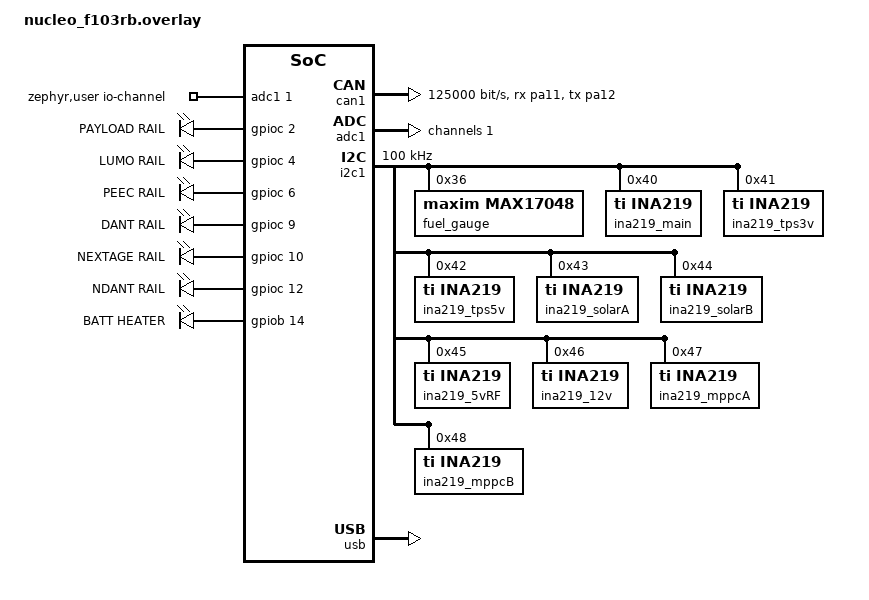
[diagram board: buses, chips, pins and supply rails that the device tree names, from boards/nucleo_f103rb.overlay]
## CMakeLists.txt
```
cmake_minimum_required(VERSION 3.20.0)

find_package(Zephyr REQUIRED HINTS $ENV{ZEPHYR_BASE})
project(eps)

list(APPEND CMAKE_MODULE_PATH ${ZEPHYR_BASE}/modules/nanopb)
include(nanopb)

target_include_directories(app PRIVATE include)

zephyr_nanopb_sources(app proto/eps_link.proto)
target_sources(app PRIVATE
	src/main.c
	src/can_link.c
	src/sensor_task.c
	src/nka103c1b1.c
	src/ntcle101.c
	src/set_rail.c
	src/ina219.c
	src/max17049.c
	src/adc.c
	src/battery_heater.c
)
```

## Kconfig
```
mainmenu "EPS Application"

	source "Kconfig.zephyr"

menu "EPS options"

	config CAN_LINK_NODE_ADDR
		hex "Local CAN node address (8-bit)"
		default 0x02
		range 0x01 0xFE

	config CAN_LINK_PEER_NODE_ADDR
		hex "Peer CAN node address for unicast demo TX (8-bit)"
		default 0x01
		range 0x01 0xFE

	config CAN_LINK_COMMAND_PRIORITY
		int "CAN priority for command / broadcast traffic (0..7)"
		default 3
		range 0 7

	config CAN_LINK_TELEMETRY_PRIORITY
		int "CAN priority for telemetry/unicast traffic (0..7)"
		default 6
		range 0 7

	config CAN_LINK_LOOPBACK
		bool "Enable CAN loopback mode for self-test"
		default n

	config CAN_LINK_TX_PERIOD_MS
		int "TX period in milliseconds"
		default 1000
		range 10 60000

	config CAN_LINK_RX_THREAD_STACK_SIZE
		int "CAN RX task stack size"
		default 1536
		range 512 8192

	config CAN_LINK_RX_THREAD_PRIORITY
		int "CAN RX task priority"
		default 5
		range -16 15

	config CAN_LINK_RX_TIMEOUT_MS
		int "CAN RX timeout in milliseconds"
		default 2000
		range 10 60000

	config CAN_LINK_RX_BUFFER_SIZE
		int "CAN RX buffer size (ISO-TP payload bytes)"
		default 128
		range 8 4095

	config CAN_LINK_BROADCAST_TX_ENABLE
		bool "Enable periodic broadcast transmit in main demo app"
		default n

	config CAN_LINK_BROADCAST_TX_PERIOD_MS
		int "Broadcast TX period in milliseconds (demo app)"
		default 3000
		range 100 60000
	
	config MY_APP_HAL_FIX
    	bool
    	default y
    	select USE_STM32_HAL_I2C

	endmenu
```

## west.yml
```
manifest:
  remotes:
    - name: zephyrproject
      url-base: https://github.com/zephyrproject-rtos

  projects:
    - name: zephyr
      remote: zephyrproject
      revision: 3568e1b6d5cdd51a6b964a2a1d6d29200fea2056
      import:
        name-allowlist:
          - cmsis_6
          - hal_stm32
          - nanopb

  self:
    path: app
```

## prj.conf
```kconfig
# Minimal config for LED blink + logs
CONFIG_GPIO=y

CONFIG_SERIAL=y
CONFIG_CONSOLE=y
CONFIG_UART_CONSOLE=y
CONFIG_PRINTK=y
CONFIG_CBPRINTF_FP_SUPPORT=y #Allows us to print floating points in Zephyr

CONFIG_LOG=y
CONFIG_LOG_DEFAULT_LEVEL=3
CONFIG_LOG_MODE_IMMEDIATE=y
CONFIG_LOG_BACKEND_UART=y

CONFIG_MAIN_STACK_SIZE=2048

CONFIG_CAN=y
CONFIG_CAN_INIT_PRIORITY=80
CONFIG_ISOTP=y
CONFIG_ISOTP_RX_SF_FF_BUF_COUNT=2

CONFIG_NANOPB=y

CONFIG_ADC=y
CONFIG_ADC_STM32=y

CONFIG_I2C=y
CONFIG_SENSOR=y
CONFIG_INA219=y
CONFIG_FUEL_GAUGE=y
```

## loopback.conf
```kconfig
CONFIG_CAN_LINK_LOOPBACK=y
CONFIG_CAN_LINK_NODE_ADDR=0x02
CONFIG_CAN_LINK_PEER_NODE_ADDR=0x02
```

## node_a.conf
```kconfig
CONFIG_CAN_LINK_NODE_ADDR=0x01
CONFIG_CAN_LINK_PEER_NODE_ADDR=0x02
CONFIG_CAN_LINK_BROADCAST_TX_ENABLE=y
CONFIG_CAN_LINK_TX_PERIOD_MS=1500
CONFIG_CAN_LINK_BROADCAST_TX_PERIOD_MS=3000
```

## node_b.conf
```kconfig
CONFIG_CAN_LINK_NODE_ADDR=0x02
CONFIG_CAN_LINK_PEER_NODE_ADDR=0x01
CONFIG_CAN_LINK_BROADCAST_TX_ENABLE=n
```

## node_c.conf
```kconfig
CONFIG_CAN_LINK_NODE_ADDR=0x03
CONFIG_CAN_LINK_PEER_NODE_ADDR=0x01
CONFIG_CAN_LINK_BROADCAST_TX_ENABLE=n
```

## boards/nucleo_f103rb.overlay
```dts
/ {
	chosen {
		zephyr,console = &usart2;
		zephyr,shell-uart = &usart2;
		zephyr,canbus = &can1;
	};

	zephyr,user {
        /* Points to ADC1, Channel 1 (PA1 pin on STM32F103) */
        io-channels = <&adc1 1>;
    };

	aliases {
		rail0 = &rail_0;
		rail1 = &rail_1;
		rail2 = &rail_2;
		rail3 = &rail_3;
		rail4 = &rail_4;
		rail5 = &rail_5;
		rail6 = &rail_6;
	};

	rails {
		compatible = "gpio-leds";

		rail_0: rail0{
			gpios = <&gpioc 2 GPIO_ACTIVE_HIGH>;
			label = "PAYLOAD RAIL";
		};

		rail_1: rail1{
			gpios = <&gpioc 4 GPIO_ACTIVE_HIGH>;
			label = "LUMO RAIL";
		};

		rail_2: rail2{
			gpios = <&gpioc 6 GPIO_ACTIVE_HIGH>;
			label = "PEEC RAIL";
		};

		rail_3: rail3{
			gpios = <&gpioc 9 GPIO_ACTIVE_HIGH>;
			label = "DANT RAIL";
		};

		rail_4: rail4{
			gpios = <&gpioc 10 GPIO_ACTIVE_HIGH>;
			label = "NEXTAGE RAIL";
		};

		rail_5: rail5{
			gpios = <&gpioc 12 GPIO_ACTIVE_HIGH>;
			label = "NDANT RAIL";
		};

		rail_6: rail6{
			gpios = <&gpiob 14 GPIO_ACTIVE_HIGH>;
			label = "BATT HEATER";
		};
	};
};


&can1 {
	pinctrl-0 = <&can_rx_pa11 &can_tx_pa12>;
	pinctrl-names = "default";
	bitrate = <125000>;
	status = "okay";

	can-transceiver {
		max-bitrate = <1000000>;
	};
};

&adc1 {
    #address-cells = <1>;
    #size-cells = <0>;
    status = "okay";
    
    /* Configure Channel 1 */
    channel@1 {
        reg = <1>;
        zephyr,gain = "ADC_GAIN_1";
        zephyr,reference = "ADC_REF_INTERNAL";
        zephyr,acquisition-time = <ADC_ACQ_TIME_DEFAULT>;
        zephyr,resolution = <12>;
    };
};

&gpioc {
	status = "okay";
};

&i2c1 {
	status = "okay";
	clock-frequency = <I2C_BITRATE_STANDARD>;

	fuel_gauge: max17048@36 {
		compatible = "maxim,max17048";
		reg = <0x36>;
		status = "okay";
	};

	ina219_main: ina219@40 {
		compatible = "ti,ina219";
		reg = <0x40>;

		shunt-milliohm = <100>;
		lsb-microamp = <100>;
	};

	ina219_tps3v: ina219@41 { 
		compatible = "ti,ina219";
		reg = <0x41>;

		shunt-milliohm = <100>;
		lsb-microamp = <100>;
	};

	ina219_tps5v: ina219@42 { 
		compatible = "ti,ina219";
		reg = <0x42>;

		shunt-milliohm = <100>;
		lsb-microamp = <100>;
	};

	ina219_solarA: ina219@43 { 
		compatible = "ti,ina219";
		reg = <0x43>;

		shunt-milliohm = <100>;
		lsb-microamp = <100>;
	};

	ina219_solarB: ina219@44 { 
		compatible = "ti,ina219";
		reg = <0x44>;

		shunt-milliohm = <100>;
		lsb-microamp = <100>;
	};

	ina219_5vRF: ina219@45 { 
		compatible = "ti,ina219";
		reg = <0x45>;

		shunt-milliohm = <100>;
		lsb-microamp = <100>;
	};

	ina219_12v: ina219@46 { 
		compatible = "ti,ina219";
		reg = <0x46>;

		shunt-milliohm = <100>;
		lsb-microamp = <100>;
	};

	ina219_mppcA: ina219@47 { 
		compatible = "ti,ina219";
		reg = <0x47>;

		shunt-milliohm = <100>;
		lsb-microamp = <100>;
	};

	ina219_mppcB: ina219@48 { 
		compatible = "ti,ina219";
		reg = <0x48>;

		shunt-milliohm = <100>;
		lsb-microamp = <100>;
	};
};

&usb {
	status = "okay";
};
```

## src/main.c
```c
#include <inttypes.h>
#include <stdbool.h>
#include <stddef.h>
#include <stdint.h>
#include <stdio.h>

#include <zephyr/logging/log.h>
#include <zephyr/kernel.h>
#include <zephyr/sys/util.h>

#include <zephyr/devicetree.h>
#include <zephyr/sys/printk.h>

#include <pb_decode.h>
#include <pb_encode.h>
#include "state.h"
#include "can_link.h"
#include "proto/eps_link.pb.h"
#include "sensor_task.h"
#include "nka103c1b1.h"
#include "ntcle101.h" 
#include "ina219.h"


State currentState = BOOT;

K_THREAD_STACK_DEFINE(sensor_task_stack, 1024);		// Creating the sensor__task
struct k_thread sensor_task_thread;

LOG_MODULE_REGISTER(eps, LOG_LEVEL_INF);

struct tx_action {
	bool broadcast;
	uint8_t target_node;
};

// CAN code, by Wayne
static bool encode_unicast_message(uint32_t seq, uint8_t *buffer, size_t *encoded_len)
{
	EpsLinkMessage msg = EpsLinkMessage_init_zero;
	pb_ostream_t stream = pb_ostream_from_buffer(buffer, EpsLinkMessage_size);

	msg.node_id = can_link_node_id();
	msg.seq = seq;
	msg.type = (seq % 2U == 0U) ? EpsLinkMessage_MsgType_HEARTBEAT : EpsLinkMessage_MsgType_STATUS;

	if (!pb_encode(&stream, EpsLinkMessage_fields, &msg)) {
		LOG_ERR("Nanopb encode failed: %s", PB_GET_ERROR(&stream));
		return false;
	}

	*encoded_len = stream.bytes_written;
	return true;
}

static bool encode_broadcast_message(uint32_t seq, uint8_t *buffer, size_t *encoded_len)
{
	EpsLinkMessage msg = EpsLinkMessage_init_zero;
	pb_ostream_t stream = pb_ostream_from_buffer(buffer, EpsLinkMessage_size);

	msg.node_id = can_link_node_id();
	msg.seq = seq;
	msg.type = EpsLinkMessage_MsgType_STATUS;

	if (!pb_encode(&stream, EpsLinkMessage_fields, &msg)) {
		LOG_ERR("Nanopb broadcast encode failed: %s", PB_GET_ERROR(&stream));
		return false;
	}

	*encoded_len = stream.bytes_written;
	return true;
}

static bool decode_message(const uint8_t *buffer, size_t len, EpsLinkMessage *msg)
{
	pb_istream_t stream = pb_istream_from_buffer(buffer, len);

	*msg = (EpsLinkMessage)EpsLinkMessage_init_zero;
	if (!pb_decode(&stream, EpsLinkMessage_fields, msg)) {
		LOG_ERR("Nanopb decode failed: %s", PB_GET_ERROR(&stream));
		return false;
	}

	return true;
}

static void on_can_message(const uint8_t *buffer, size_t len, uint8_t source_node, bool is_broadcast,
			   void *user_data)
{
	EpsLinkMessage msg;

	ARG_UNUSED(user_data);

	if (!decode_message(buffer, len, &msg)) {
		return;
	}

	LOG_INF("RX src=%u broadcast=%d node_id=%" PRIu32 " seq=%" PRIu32 " uptime_ms=%" PRIu32 " type=%u",
		source_node, is_broadcast, msg.node_id, msg.seq, msg.uptime_ms, (unsigned int)msg.type);
}

static size_t build_tx_plan(uint8_t local_node, struct tx_action *plan, size_t max_actions)
{
	if (max_actions < 3U) {
		return 0U;
	}

	if (local_node == 0x01U) {
		plan[0] = (struct tx_action){ .broadcast = true, .target_node = 0xFFU };
		plan[1] = (struct tx_action){ .broadcast = false, .target_node = 0x02U };
		plan[2] = (struct tx_action){ .broadcast = false, .target_node = 0x03U };
		return 3U;
	}

	if (local_node == 0x02U) {
		plan[0] = (struct tx_action){ .broadcast = false, .target_node = 0x01U };
		plan[1] = (struct tx_action){ .broadcast = false, .target_node = 0x03U };
		return 2U;
	}

	if (local_node == 0x03U) {
		plan[0] = (struct tx_action){ .broadcast = false, .target_node = 0x01U };
		plan[1] = (struct tx_action){ .broadcast = false, .target_node = 0x02U };
		return 2U;
	}

	plan[0] = (struct tx_action){ .broadcast = false, .target_node = (uint8_t)CONFIG_CAN_LINK_PEER_NODE_ADDR };
	return 1U;
}
// END OF CAN CODE

// MAIN FUNCTION
int main(void)
{
	//printk("Aidan was here");
	uint8_t tx_buffer[EpsLinkMessage_size];
	struct tx_action tx_plan[3];
	uint32_t seq = 0U;
	size_t plan_len;
	size_t plan_idx = 0U;
	int ret;

	


	ina219_data_t inaData = {0};
	
	ret = can_link_init(on_can_message, NULL);
	plan_len = build_tx_plan((uint8_t)can_link_node_id(), tx_plan, ARRAY_SIZE(tx_plan));

	// Sensor_task_code
	void sensor_task_entry(void *p1, void *p2, void *p3){
    	ARG_UNUSED(p1);
    	ARG_UNUSED(p2);
    	ARG_UNUSED(p3);
    	sensor_task();
	}

	k_thread_create(&sensor_task_thread, 
					sensor_task_stack,
                    K_THREAD_STACK_SIZEOF(sensor_task_stack),
                    sensor_task_entry, 
					NULL, 
					NULL, 
					NULL,
                    5, 
					0, 
					K_NO_WAIT);
	// END SENSOR TASK CODE

	// TODO: Remove "return 0" and add LOG_INF for transitioning from BOOT to FAULT in all init conditionals, and change currentState to FAULT
	while (1) {
		// State Machine
		switch(currentState){
			case BOOT:
				LOG_INF("State: BOOT");

				// WAYNES CAN CODE - INIT (I think)
				if (ret != 0) {
					LOG_ERR("CAN init failed: %d", ret);
					return 0;
				}

				if (plan_len == 0U) {
					LOG_ERR("Failed to build TX plan");
					return 0;
				}

				LOG_INF("TX plan loaded for node=%u entries=%u", (unsigned int)can_link_node_id(),
				(unsigned int)plan_len);
				// END CAN INIT

				
				// TODO: Perhaps test for a single, or make a new temporary ina instance to initialize here instead of every ina read

				currentState = WAKE;
				LOG_INF("State transition from BOOT to WAKE due to: Nominal Initialization!");
				break;
			case WAKE:
				// TODO: Send ack packet to OBC and wait for command back
				LOG_INF("Sending acknowledge to OBC");
				LOG_INF("State transition from WAKE to VITALS due to: OBC Next State Command");
				
				currentState = VITALS;
				break;
			case VITALS:
			    LOG_INF("State: VITALS");
				// TODO: Figure out if EPS needs to do anything like call readAllINA()
            	currentState = REGULAR;
				break;
			case DEPLOYING:
			    LOG_INF("State: DEPLOYING");
				// TODO: Figure out if EPS needs to do anything here, or just wait
            	currentState = REGULAR;
				break;
			case REGULAR:
				LOG_INF("State: REGULAR");
				// Normal Operations Placeholder - No sensor_task call added yet
				readSingleINA(0, &inaData);
				printk("INA data is: %fV, %fA, %fW", (double)inaData.voltage, (double)inaData.current, (double)inaData.power);
				
				size_t encoded_len = 0U;
				struct tx_action action = tx_plan[plan_idx];
				bool encoded_ok;

				if (action.broadcast) {
					encoded_ok = encode_broadcast_message(seq, tx_buffer, &encoded_len);
				} else {
					encoded_ok = encode_unicast_message(seq, tx_buffer, &encoded_len);
				}

				if (!encoded_ok) {
					k_msleep(100);
					continue;
				}

		
				if (action.broadcast) {
					ret = can_link_send_broadcast(tx_buffer, encoded_len);
					if (ret != 0) {
						LOG_ERR("TX broadcast failed (seq=%" PRIu32 "): %d", seq, ret);
					} else {
						LOG_INF("TX broadcast seq=%" PRIu32 " bytes=%u", seq, (unsigned int)encoded_len);
					}
				} else {
					ret = can_link_send_to(action.target_node, tx_buffer, encoded_len);
					if (ret != 0) {
						LOG_ERR("TX unicast failed (seq=%" PRIu32 ", target=%u): %d", seq,
							action.target_node, ret);
					} else {
						LOG_INF("TX unicast seq=%" PRIu32 " target=%u bytes=%u", seq,
							action.target_node, (unsigned int)encoded_len);
					}
				}
		
				seq++;
				plan_idx = (plan_idx + 1U) % plan_len;

				
		
				//float temp = getBattTemp(raw_value);
				//printk("Batt temperature is: %f", temp);

				k_msleep(CONFIG_CAN_LINK_TX_PERIOD_MS);
				break;
			case SAFE:
				LOG_WRN("State: SAFE");
            	k_msleep(250);
				break;
			case FAULT:
				LOG_ERR("State: FAULT");
            	currentState = RESTART;
				break;
			case RESTART:
				LOG_WRN("State: RESTART");
            	k_msleep(100);
				// TODO: Figure out how to restart MCU in a safe way
				break;
		}
		

	}
}
```

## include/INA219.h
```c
/*
 * INA219.h
 *
 *  Created on: Dec 30, 2020
 *  Updated on: Jan 29, 2022
 *      Author: Piotr Smolen <komuch@gmail.com>
 *     	Updated by: Brandon Thibeaux <github: thibeaux>
 */

#ifndef INC_INA219_H_
#define INC_INA219_H_

#include <stdbool.h>
#include <stdint.h>
#include "main.h"


#define INA219_ADDRESS 							(0x40)

//
//	Registers
//
#define	INA219_REG_CONFIG						(0x00)
#define	INA219_REG_SHUNTVOLTAGE					(0x01)
#define	INA219_REG_BUSVOLTAGE					(0x02)
#define	INA219_REG_POWER						(0x03)
#define	INA219_REG_CURRENT						(0x04)
#define	INA219_REG_CALIBRATION					(0x05)
//
#define INA219_CONFIG_RESET 					(0x8000)
//
#define INA219_CONFIG_BVOLTAGERANGE_16V			(0x0000) // 0-16V Range
#define INA219_CONFIG_BVOLTAGERANGE_32V			(0x2000) // 0-32V Range

#define	INA219_CONFIG_GAIN_1_40MV				(0x0000)  // Gain 1, 40mV Range
#define	INA219_CONFIG_GAIN_2_80MV				(0x0800)  // Gain 2, 80mV Range
#define	NA219_CONFIG_GAIN_4_160MV				(0x1000) // Gain 4, 160mV Range
#define	INA219_CONFIG_GAIN_8_320MV				(0x1800) // Gain 8, 320mV Range

#define	INA219_CONFIG_BADCRES_9BIT				(0x0000)  // 9-bit bus res = 0..511
#define	INA219_CONFIG_BADCRES_10BIT				(0x0080) // 10-bit bus res = 0..1023
#define	INA219_CONFIG_BADCRES_11BIT				(0x0100) // 11-bit bus res = 0..2047
#define	INA219_CONFIG_BADCRES_12BIT				(0x0180) // 12-bit bus res = 0..4097
#define	INA219_CONFIG_BADCRES_12BIT_2S_1060US 	(0x0480) // 2 x 12-bit bus samples averaged together
#define	INA219_CONFIG_BADCRES_12BIT_4S_2130US	(0x0500) // 4 x 12-bit bus samples averaged together
#define	INA219_CONFIG_BADCRES_12BIT_8S_4260US	(0x0580) // 8 x 12-bit bus samples averaged together
#define	INA219_CONFIG_BADCRES_12BIT_16S_8510US	(0x0600) // 16 x 12-bit bus samples averaged together
#define	INA219_CONFIG_BADCRES_12BIT_32S_17MS	(0x0680) // 32 x 12-bit bus samples averaged together
#define	INA219_CONFIG_BADCRES_12BIT_64S_34MS	(0x0700) // 64 x 12-bit bus samples averaged together
#define	INA219_CONFIG_BADCRES_12BIT_128S_69MS	(0x0780) // 128 x 12-bit bus samples averaged together

#define	INA219_CONFIG_SADCRES_9BIT_1S_84US		(0x0000) // 1 x 9-bit shunt sample
#define	INA219_CONFIG_SADCRES_10BIT_1S_148US	(0x0008) // 1 x 10-bit shunt sample
#define	INA219_CONFIG_SADCRES_11BIT_1S_276US	(0x0010) // 1 x 11-bit shunt sample
#define	INA219_CONFIG_SADCRES_12BIT_1S_532US	(0x0018) // 1 x 12-bit shunt sample
#define	INA219_CONFIG_SADCRES_12BIT_2S_1060US	(0x0048) // 2 x 12-bit shunt samples averaged together
#define	INA219_CONFIG_SADCRES_12BIT_4S_2130US	(0x0050) // 4 x 12-bit shunt samples averaged together
#define	INA219_CONFIG_SADCRES_12BIT_8S_4260US	(0x0058) // 8 x 12-bit shunt samples averaged together
#define	INA219_CONFIG_SADCRES_12BIT_16S_8510US	(0x0060) // 16 x 12-bit shunt samples averaged together
#define	INA219_CONFIG_SADCRES_12BIT_32S_17MS	(0x0068) // 32 x 12-bit shunt samples averaged together
#define	INA219_CONFIG_SADCRES_12BIT_64S_34MS	(0x0070) // 64 x 12-bit shunt samples averaged together
#define	INA219_CONFIG_SADCRES_12BIT_128S_69MS	(0x0078) // 128 x 12-bit shunt samples averaged together
//
#define INA219_CONFIG_MODE_MASK					(0x07)
#define	INA219_CONFIG_MODE_POWERDOWN			0x00 /**< power down */
#define	INA219_CONFIG_MODE_SVOLT_TRIGGERED		0x01 /**< shunt voltage triggered */
#define	INA219_CONFIG_MODE_BVOLT_TRIGGERED		0x02 /**< bus voltage triggered */
#define	INA219_CONFIG_MODE_SANDBVOLT_TRIGGERED	0x03 /**< shunt and bus voltage triggered */
#define	INA219_CONFIG_MODE_ADCOFF				0x04 /**< ADC off */
#define	INA219_CONFIG_MODE_SVOLT_CONTINUOUS		0x05 /**< shunt voltage continuous */
#define	INA219_CONFIG_MODE_BVOLT_CONTINUOUS		0x06 /**< bus voltage continuous */
#define	INA219_CONFIG_MODE_SANDBVOLT_CONTINUOUS 0x07

typedef struct
{
	I2C_HandleTypeDef 	*ina219_i2c;
	uint8_t				Address;
} INA219_t;

enum BatteryState {Battery_START,Battery_OK, Battery_LOW}; // To help health check function sufficiently diagnose problems

//Added by Aidan
enum PowerState {Nominal, Safe, Low_Power,};

int INA219_GetDeltaTime_ms();
uint8_t INA219_Init(INA219_t *ina219, I2C_HandleTypeDef *i2c, uint8_t Address);
uint16_t INA219_ReadBusVoltage(INA219_t *ina219);
int16_t INA219_ReadCurrent(INA219_t *ina219);
int16_t INA219_ReadCurrent_raw(INA219_t *ina219);
uint16_t INA219_ReadShuntVolage(INA219_t *ina219);
uint16_t INA219_ReadPower(INA219_t *ina219);
float INA219_GetBatteryLife(INA219_t *ina219,float batteryMax, float batteryMin);
float INA219_GetAVGMiliWatt(INA219_t *ina219);
float INA219_GetMiliWattsDeltaTime(INA219_t *ina219);
float INA219_GetTotalPowerUsed(INA219_t *ina219);
enum BatteryState INA219_HealthCheck(INA219_t *ina219,float batteryPercentageThreshold,float batteryPercentage);

void INA219_Reset(INA219_t *ina219);
void INA219_setCalibration(INA219_t *ina219, uint16_t CalibrationData);
uint16_t INA219_getConfig(INA219_t *ina219);
void INA219_setConfig(INA219_t *ina219, uint16_t Config);
void INA219_setCalibration_32V_2A(INA219_t *ina219);
void INA219_setCalibration_32V_1A(INA219_t *ina219);
void INA219_setCalibration_16V_400mA(INA219_t *ina219);
void INA219_setPowerMode(INA219_t *ina219, uint8_t Mode);

uint16_t Read16(INA219_t *ina219, uint8_t Register);
HAL_StatusTypeDef Write16(INA219_t *ina219, uint8_t Register, uint16_t Value);



#endif /* INC_INA219_H_ */
```

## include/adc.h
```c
#ifndef ADC_H
#define ADC_H

#include <stdint.h>
#include <zephyr/drivers/adc.h>
#include <zephyr/logging/log.h>

// Setting up the Analogue to Digital converter with Zephyr and the STM32
#define ADC_NODE DT_PATH(zephyr_user)
static const struct adc_dt_spec adc_channel = ADC_DT_SPEC_GET_BY_IDX(ADC_NODE, 0);

extern int16_t raw_ADC;

/**
 * @brief Initializes the STM32's Analog to digital converter
 * 
 * @return int - Returns a 1 if successful set up, 0 otherwise
 */
int adcInit();

/**
 * @brief Reads the Analog value from the STM32's ADC GPIO and converts it to a digital signal. To used
 * to retrieve the NTC thermistor's temperature
 * 
 * @return int 
 */
int adcRead();

#endif
```

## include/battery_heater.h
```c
/**
 * @file battery_heater.h
 * @author Aidan Doyle (Doyle-Squared)
 * @brief   Header file for battery heater gpio toggling functions
 * @version 0.1
 * @date 2026-07-28
 */
#ifndef BATTERY_HEATER_H
#define BATTERY_HEATER_H

#include <zephyr/logging/log.h>
#include <zephyr/kernel.h>
#include <zephyr/sys/util.h>
#include <zephyr/drivers/gpio.h>

/**
 * @brief Sets the battery heater CTRL gpio to high/on
 * 
 * @return int - Returns 1 if toggled, 0 if toggle fails
 */
int battHeaterOn();

/**
 * @brief Sets the battery heater CTRL gpio to low/off
 * 
 * @return int Returns 1 if toggled, 0 if toggle fails
 */
int battHeaterOff();

#endif
```

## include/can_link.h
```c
#ifndef CAN_LINK_H_
#define CAN_LINK_H_

#include <stddef.h>
#include <stdbool.h>
#include <stdint.h>

#ifdef __cplusplus
extern "C" {
#endif

typedef void (*can_link_rx_handler_t)(const uint8_t *payload, size_t len, uint8_t source_node,
				      bool is_broadcast, void *user_data);

int can_link_init(can_link_rx_handler_t rx_handler, void *user_data);
int can_link_send(const uint8_t *payload, size_t len);
int can_link_send_to(uint8_t target_node, const uint8_t *payload, size_t len);
int can_link_send_broadcast(const uint8_t *payload, size_t len);
uint32_t can_link_node_id(void);

#ifdef __cplusplus
}
#endif

#endif /* CAN_LINK_H_ */
```

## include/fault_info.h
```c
/**
 * @file fault_info.h
 * @author Aidan Doyle (Doyle-Squared)
 * @brief Enums for EPS fault reporting to the EPS
 * @date 2026-08-11
 */

 #ifndef FAULT_INFO_H
 #define FAULT_INFO_H

typedef enum {
    INFO,
    WARNING,
    ERROR,
    CRITICAL
}Severity;


 #endif
```

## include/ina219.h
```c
#ifndef INA219_H
#define INA219_H

#include <stdint.h>

typedef struct {
    uint8_t id;
    float current;
    float voltage;
    float power;
    float shuntVoltage;
} ina219_data_t;

typedef struct {
    float voltageMin;
    float voltageMax;
    float currentMin;
    float currentMax;
} inaRanges;

/**
 * @brief:	The goal of this function is to read the value of a single INA sensor .
 * @param 	nodeIndex Index to the specific INA Zephyr device-tree node you want to read
 * @param   inaInstance Pointer to the struct where the INA's data is stored after being read
 * 
 * @return  Returns a 1 if the method was able to read and store the data
 */
int readSingleINA(int nodeIndex, ina219_data_t *inaInstance);

/**
 * @brief:	The goal of this function is to read all the EPS INA's and store them in a data buffer to be used for a heartbeat. 
 * @param   inaStorage - Data buffer to store the data of all the INA's
 * 
 * @return  Returns a 1 if the method was able to read and store the data
 */
int readAllINA(ina219_data_t inaSensors[]);

#endif
```

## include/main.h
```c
/* USER CODE BEGIN Header */
/**
  ******************************************************************************
  * @file           : main.h
  * @brief          : Header for main.c file.
  *                   This file contains the common defines of the application.
  ******************************************************************************
  * @attention
  *
  * <h2><center>&copy; Copyright (c) 2022 STMicroelectronics.
  * All rights reserved.</center></h2>
  *
  * This software component is licensed by ST under BSD 3-Clause license,
  * the "License"; You may not use this file except in compliance with the
  * License. You may obtain a copy of the License at:
  *                        opensource.org/licenses/BSD-3-Clause
  *
  ******************************************************************************
  */
/* USER CODE END Header */

/* Define to prevent recursive inclusion -------------------------------------*/
#ifndef __MAIN_H
#define __MAIN_H

#ifdef __cplusplus
extern "C" {
#endif

/* Includes ------------------------------------------------------------------*/
#include "stm32f1xx_hal.h"

/* Private includes ----------------------------------------------------------*/
/* USER CODE BEGIN Includes */

/* USER CODE END Includes */

/* Exported types ------------------------------------------------------------*/
/* USER CODE BEGIN ET */

/* USER CODE END ET */

/* Exported constants --------------------------------------------------------*/
/* USER CODE BEGIN EC */

/* USER CODE END EC */

/* Exported macro ------------------------------------------------------------*/
/* USER CODE BEGIN EM */

/* USER CODE END EM */

/* Exported functions prototypes ---------------------------------------------*/
void Error_Handler(void);

/* USER CODE BEGIN EFP */

/* USER CODE END EFP */

/* Private defines -----------------------------------------------------------*/
#define B1_Pin GPIO_PIN_13
#define B1_GPIO_Port GPIOC
#define USART_TX_Pin GPIO_PIN_2
#define USART_TX_GPIO_Port GPIOA
#define USART_RX_Pin GPIO_PIN_3
#define USART_RX_GPIO_Port GPIOA
#define LD2_Pin GPIO_PIN_5
#define LD2_GPIO_Port GPIOA
#define TMS_Pin GPIO_PIN_13
#define TMS_GPIO_Port GPIOA
#define TCK_Pin GPIO_PIN_14
#define TCK_GPIO_Port GPIOA
#define SWO_Pin GPIO_PIN_3
#define SWO_GPIO_Port GPIOB
/* USER CODE BEGIN Private defines */

/* USER CODE END Private defines */

#ifdef __cplusplus
}
#endif

#endif /* __MAIN_H */

/************************ (C) COPYRIGHT STMicroelectronics *****END OF FILE****/
```

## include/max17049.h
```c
/**
 * @file max17049.h
 * @author Aidan Doyle (Doyle-Squared)
 * @brief Code for the MAX17049 IC that keeps track of the batteries' SOC (State of Charge: aka battery percent)
 * @date 2026-06-17
 * 
 */

#ifndef MAX17049_H
#define MAX17049_H
#include <stdint.h>
#include <zephyr/kernel.h>
#include <zephyr/device.h>
#include <zephyr/sys/util.h>
#include <zephyr/logging/log.h>
#include <zephyr/drivers/i2c.h>
#include <zephyr/drivers/fuel_gauge.h>
 
#define MAX17049 DT_NODELABEL(fuel_gauge)

typedef struct {
    uint16_t soc;
    uint16_t voltageMv;
}battData;

/**
 * @brief This function gets the State of Charge (SOC) aka the battery percentage, as well as the voltage.
 * 
 * @param battSOCBuffer A 16-bit unsigned integer pointer to store the battery's SOC value
 * @param battVoltageBuffer A 16-bit signed integer pointer to store the battery's Voltage
 * @return uint8_t Returns a 1 for success, 0 for failure
 */
uint8_t battGetSOC(uint16_t *battSOCBuffer, int16_t *battVoltageBuffer);

/**
 * @brief This function takes the temperature from the ntc thermistor on the battery board and sends the
 * value to the MAX17049's R_COMP register for the IC to recalibrate its SOC calculations based off ambient 
 * temperature. Refer to page 8 of Maxim's MAX17049 data sheet
 * 
 * @param max17049 The Zephyr device-tree node for the MAX17049
 * @param temp Ntc thermistor's temperature from the battery board
 * @return uint8_t Returns a 1 for success, 0 for failure
 */
uint8_t battCompensateForTemp(float temp);

#endif
```

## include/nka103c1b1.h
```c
/**
 * @file nka103c1b1.h
 * @author Aidan Doyle (Doyle-Squared)
 * @brief The code in this file was supposed to get the temperature for the EPS, but as of 6/5/26, I dont
 * think that the thermistor is connected to the MCU directly
 */

#ifndef NKA103C1B1_H
#define NKA103C1B1_H

#include <stdint.h>
#include <math.h>

/* Beta Model Equation for getting the tempurature
*   1/T = (1/T_o) + (1/beta) * ln(R_Therm/R_nominal)
*
*  R_Therm Equation(s)
*
*   R_reference * (V_ADC/VCC - V_ADC)   or   R_reference * ((ADC_max/ADC_reading) - 1)
*/

float getEPSTemp(uint32_t ADC_Value);

#endif
```

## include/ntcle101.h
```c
/**
 * @file ntcle101.h
 * @author Aidan Doyle (Doyle-Squared)
 * @brief Code to get the temperature of the thermistor located on the Battery Board and store the temperature in a float
 */

#ifndef NTCLE101_H
#define NTCLE101_H

#include <stdint.h>
#include <math.h>
#include <zephyr/logging/log.h>
#include <zephyr/kernel.h>
#include <zephyr/sys/util.h>
#include "adc.h"


/* Beta Model Equation for getting the tempurature
*   1/T = (1/T_o) + (1/beta) * ln(R_Therm/R_nominal)
*
*  R_Therm Equation(s)
*
*   R_reference * (V_ADC/VCC - V_ADC)   or   R_reference * ((ADC_max/ADC_reading) - 1)
*/

/**
 * @brief Get the ambient temperature of the Battery Board in Celcius
 * 
 * @param temperatur Pointer to a data buffer that will hold the temp of the Battery Board in Celcius
 * @return int Returns 1 if the temperature was calculated, 0 otherwise
 */
int getBattTemp(float *temperature);

#endif
```

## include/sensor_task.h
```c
/**
 * @file sensor_task.h
 * @author Aidan Doyle (Doyle-Squared)
 * @brief Code that is supposed to read the INA and tempurature sensors and print them out, as well as storing all the
 * INA information into a large uint16_t array
 * @version 1.3
 * 
 */

#ifndef SENSOR_TASK_H
#define SENSOR_TASK_H

#include <stdint.h>
#include <string.h>
#include <zephyr/logging/log.h>
#include <zephyr/kernel.h>
#include <zephyr/sys/util.h>
#include "ntcle101.h" 
#include "ina219.h"
#include "max17049.h"
#include "battery_heater.h"



typedef struct {
    ina219_data_t inaInfo[9];
    float battTemp;
    uint16_t battSOC;
    int16_t battVoltage;
} heartbeat_telemetry_t;

/**
 * @brief:	The goal of this function is to change the power mode of the EPS board. The buit in INA 
 * 			file may be enough, but I dont know for now. BAREONES CODE until flatsat/mcu provided for.
 * 			testing as well as more detailed requirements. All code is subject to change 
 * @param 	value - gets the struct of the value used to determine power state. value.val1 is the whole
 * 			number, while value.val2 (if used) is the decimal
 * @return 	enum PowerState - Returns a basic enum for now with the power levels listed in the Airtable
 */
// enum PowerState ChangePowerState(struct sensor_value value);


/**
 * @brief Read information from all the sensors (INAs and thermistors) and print the information in a readable format
 * 
 * @param inaStorage Array to store each INA instace struct's data
 * @param temperature Pointer to temperature storage buffer
 * @return int Returns 1 if no errors
 */
int getSensorData(ina219_data_t inaStorage[], float *temperature, uint16_t *battSOC, uint16_t *battVoltage);

/**
 * @brief Retrieve information from the sensors on the EPS and check for low/high temp, low power, etc.
 * 
 */
void sensor_task();

#endif
```

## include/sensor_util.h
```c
#ifndef SENSOR_UTIL_H
#define SENSOR_UTIL_H

#include <zephyr/drivers/sensor.h>
#include <zephyr/logging/log.h>
#include <zephyr/kernel.h>
#include <zephyr/sys/util.h>
#include "ntcle101.h" 
#include <stdint.h>

#define INA_MAIN DT_NODELABEL(ina219_0)
#define INA_TPS3_3V DT_NODELABEL(ina219_1)
#define INA_TPS5V DT_NODELABEL(ina219_2)
#define INA_SOLARA DT_NODELABEL(ina219_3)
#define INA_SOLARB DT_NODELABEL(ina219_4)
#define INA_5VRF DT_NODELABEL(ina219_5)
#define INA_12V DT_NODELABEL(ina219_6)
#define INA_MPPCA DT_NODELABEL(ina219_7)
#define INA_MPPCB DT_NODELABEL(ina219_8)


/**
 * @brief:	The goal of this function is to change the power mode of the EPS board. The buit in INA 
 * 			file may be enough, but I dont know for now. BAREONES CODE until flatsat/mcu provided for.
 * 			testing as well as more detailed requirements. All code is subject to change 
 * @param 	value - gets the struct of the value used to determine power state. value.val1 is the whole
 * 			number, while value.val2 (if used) is the decimal
 * @return 	enum PowerState - Returns a basic enum for now with the power levels listed in the Airtable
 */
// enum PowerState ChangePowerState(struct sensor_value value);


/**
 * @brief:	The goal of this function is to read the value of a single INA sensor and store it in four 16 bit variables.
 * @param 	ina Pointer to INA219 instance that we want to get our electrical data from. 
 * @param   inaBuffer Buffer to store the INA Data following the format: Voltage, VShunt, Current, Power
 * @param   indx The starting index of where our data will be stored in the INA buffer. Added to make readAllINA() more simple
 * 
 * @return  Returns a 1 if the method was able to read and store the data
 */
int readSingleINA(const struct device *ina, int16_t inaBuffer[], uint8_t indx);

/**
 * @brief:	The goal of this function is to read all the EPS INA's and store them in a data buffer to be used for a heartbeat. 
 * @param   inaStorage - Data buffer to store the data of all the INA's
 * 
 * @return  Returns a 1 if the method was able to read and store the data
 */
int readAllINA(int16_t inaStorage[]);


/**
 * @brief Read information from all the sensors (INAs and thermistors) and print the information in a readable format
 * 
 * @param inaStorage Data buffer to store the data of all the INA's
 * @param rawTempADC ADC value from the Battery Board thermistor, to be used for the getBattTemp function
 * @return int Returns 1 if no errors
 */
int getSensorData(int16_t inaStorage[], uint32_t rawTempADC);

#endif
```
